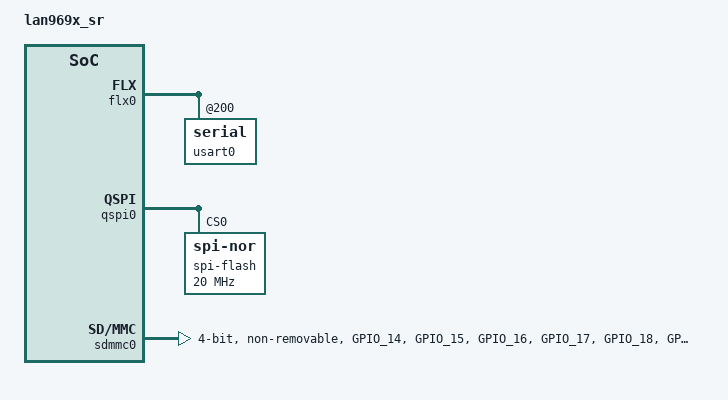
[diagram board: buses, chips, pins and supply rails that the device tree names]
// SPDX-License-Identifier: (GPL-2.0+ OR MIT)

/*
 * Copyright (c) 2022 Microchip Technology Inc. and its subsidiaries.
 */

/dts-v1/;

#include "lan969x.dtsi"

/ {
	model = "lan969x_sr";
	aliases {
		serial0 = &usart0;
	};
	chosen {
		stdout-path = "serial0:115200n8";
	};

	dummy_clk: dummy_clk {
		compatible = "fixed-clock";
		#clock-cells = <0>;
		clock-frequency = <30000000>;	/* CPU clock = 30MHz */
	};
};

&clks {
	status = "disabled";
};

&fabric_clk {
	clock-frequency = <20000000>;
};

&flx0 {
	clocks = <&fabric_clk>;

	atmel,flexcom-mode = <ATMEL_FLEXCOM_MODE_USART>;
	status = "okay";

	usart0: serial@200 {
		clocks = <&fabric_clk>;

		pinctrl-0 = <&fc0_pins>;
		pinctrl-names = "default";
		status = "okay";
	};
};

&gpio {
	fc0_pins: fc0_uart_pins {
		pins = "GPIO_3", "GPIO_4";
		function = "fc";
	};

	emmc_sd_pins: emmc-sd-pins {
		/* eMMC_SD - CMD, CLK, D0, D1, D2, D3, D4, D5, D6, D7, RSTN */
		pins = "GPIO_14", "GPIO_15", "GPIO_16", "GPIO_17",
		       "GPIO_18", "GPIO_19", "GPIO_20", "GPIO_21",
		       "GPIO_22", "GPIO_23", "GPIO_24";
		function = "emmc_sd";
	};
};

&qspi0 {
	clocks = <&dummy_clk>, <&dummy_clk>;
	/delete-property/ assigned-clocks;
	/delete-property/ assigned-clock-rates;

	compatible = "microchip,sunrise-qspi";
	status = "okay";

	spi-flash@0 {
		compatible = "jedec,spi-nor";
		reg = <0>;
		spi-max-frequency = <20000000>;
		#address-cells = <1>;
		#size-cells = <1>;
		spi-tx-bus-width = <4>;
		spi-rx-bus-width = <4>;
		m25p,fast-read;
	};
};

&reset {
	status = "disabled";
};

&sdmmc0 {
	clocks = <&dummy_clk>, <&dummy_clk>;
	/delete-property/ assigned-clocks;
	/delete-property/ assigned-clock-rates;

	pinctrl-0 = <&emmc_sd_pins>;
	pinctrl-names = "default";
	max-frequency = <24000000>;	/* Sunrise limitation */
	/* Disable HS modes */
	sdhci-caps-mask = <0x0 0x00200000>;
	bus-width = <4>;
	non-removable;
	no-1-8-v;
	disable-wp;
	status = "okay";
};
